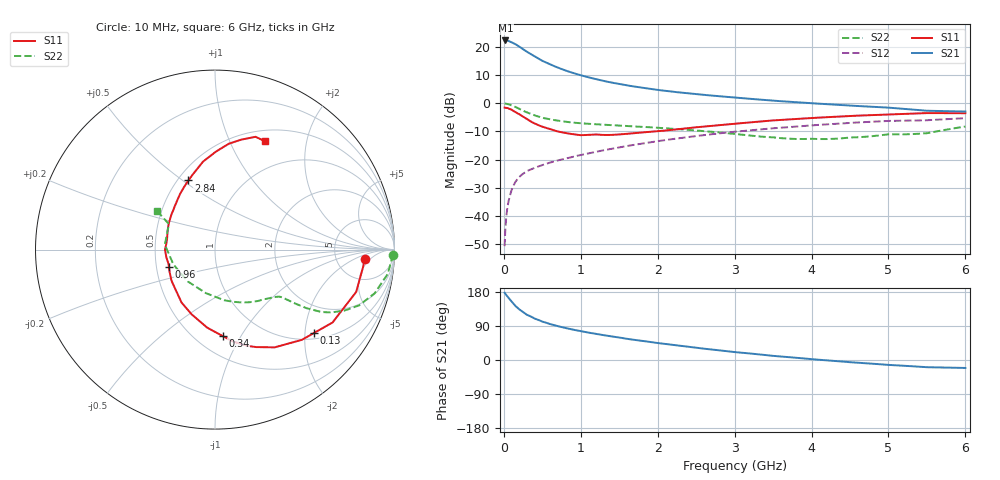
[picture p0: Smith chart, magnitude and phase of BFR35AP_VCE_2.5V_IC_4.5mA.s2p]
! Infineon Technologies  Discrete & RF Semiconductors
! BFR35AP
! VCE =  2.5 V,  IC =  4.5 mA
! Common Emitter S-Parameters:  Nov 2015
# GHz  S  MA  R  50
!  f  S11  S21  S12  S22
! GHz  MAG  ANG  MAG  ANG  MAG  ANG  MAG  ANG
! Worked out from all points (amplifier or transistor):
!   210 points, 10 MHz to 6 GHz, reference 50 ohm
!   highest |S21| = 22.3 dB at 20 MHz (marker M1)
!   |S21| within 3 dB of that: start of sweep to 244.1 MHz
!   unconditionally stable (mu >= 1): 820.6 MHz to 3.856 GHz
!   at 185 MHz: K = 0.36, MSG = 23.5 dB, |S12| = -26.7 dB
!   at 1.52 GHz: K = 1.14, MAG = 8.9 dB, |S12| = -15.6 dB
!   at 6 GHz: K = 0.98, MSG = 1.2 dB, |S12| = -5.3 dB
!   S11 on the Smith chart (normalised r, x): 10 MHz: 10, -3; 130 MHz: 1.15, -2.23; 340 MHz: 0.67, -0.84; 960 MHz: 0.58, -0.12; 2.84 GHz: 0.57, +0.53; 6 GHz: 0.63, +1.36
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0.01  0.8355 -3.5  12.98 177.5  0.0029 88.2  0.9922 -1.6
0.02  0.8306 -6.7  13 174.4  0.006 84.6  0.9861 -3.2
0.05  0.8212 -16.7  12.96 166.6  0.0151 81.4  0.9715 -8.1
0.1  0.7706 -31.8  12.14 154.5  0.0285 73.9  0.9214 -15.4
0.13  0.7215 -40.0  11.5 147.6  0.0354 69.3  0.8838 -18.8
0.15  0.6979 -46.1  11.18 142.6  0.0401 67.1  0.8605 -21.2
0.2  0.6381 -58.6  10.18 133.7  0.049 62.7  0.7949 -25.4
0.26  0.5669 -71.2  8.891 124.7  0.0574 58.4  0.7258 -28.8
0.34  0.4831 -85.0  7.597 115.8  0.066 55.9  0.6546 -31.2
0.4  0.437 -95.7  6.779 109.4  0.0712 54.3  0.606 -32.6
0.5  0.3836 -109.8  5.654 101.3  0.0798 53.9  0.5511 -33.7
0.6  0.3492 -122.2  4.882 94.9  0.0883 53.7  0.5165 -34.3
0.8  0.2973 -144.7  3.807 84.3  0.1041 53.9  0.4693 -35.2
0.96  0.2745 -159.3  3.25 77.7  0.1172 54.9  0.4451 -36.2
1.02  0.2712 -164.5  3.08 75.3  0.1222 55.0  0.4385 -36.7
1.4  0.2736 167.5  2.32 62.2  0.1553 54.9  0.4086 -41.4
2.02  0.3197 136.7  1.709 44.3  0.214 52.1  0.3652 -52.1
2.84  0.4127 111.0  1.317 24.6  0.2954 44.9  0.2996 -74.0
3.1  0.4442 105.1  1.23 19.1  0.3206 41.8  0.2759 -83.6
4.1  0.5555 87.9  0.98 0.6  0.4131 29.5  0.2311 -137.0
5.1  0.6377 75.1  0.814 -14.0  0.4869 15.5  0.2795 169.6
6  0.6648 65.2  0.711 -21.0  0.543 5.2  0.3859 146.4
